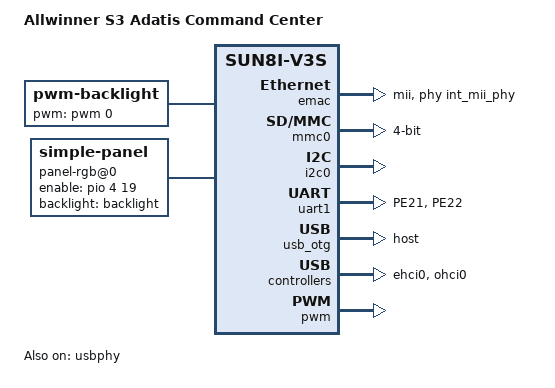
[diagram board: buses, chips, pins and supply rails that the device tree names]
/dts-v1/;

#include "sun8i-s3.dtsi"
#include "sunxi-common-regulators.dtsi"

/ {
    model = "Allwinner S3 Adatis Command Center";
    compatible = "licheepi,licheepi-zero", //"allwinner,sun8i-s3",
                "allwinner,sun8i-v3s";

    aliases {
        serial0 = &uart1;
    };

/*    mmc2_pwrseq: mmc2_pwrseq {
        compatible = "mmc-pwrseq-emmc";
        reset-gpios = <&pio 2 2 GPIO_ACTIVE_LOW>;   // PC2
    };*/

    chosen {
        stdout-path = "serial0:115200n8";
    };


    backlight: backlight {
        compatible = "pwm-backlight";
        pwms = <&pwm 0 50000 0>;

        brightness-levels = <0 10 20 30 40 50 60 70 80 90 100>;
        default-brightness-level = <10>;

        status = "okay"; 
        default-on;
    };
    /*    backlight: backlight {
        compatible = "pwm-backlight";
        power-supply
        pwms = <&pwm 0 50000 1>;
        brightness-levels = <0 2 4 8 16 32 64 128 255>;
        default-brightness-level = <3>;
    };*/

    panel-rgb@0 {   //#CONFIG_VIDEO_LCD_MODE="x:800,y:480,depth:18,pclk_khz:33000,le:87,ri:40,up:31,lo:13,hs:1,vs:1,sync:3,vmode:0"
        #address-cells = <1>;
        #size-cells = <0>;

        compatible = "simple-panel";
        backlight = <&backlight>;
        status = "okay";
        
        bits-per-pixel = <32>;
        bpp = <32>;        
        bus-width = <18>;
        
        pinctrl-names = "default";
        pinctrl-0 = <&lcd_rgb666_pins_a>, <&lcd_power_pin_som204>;

        enable-gpios = <&pio 4 19 0>; // PE19

        display-timings {
            timing@0 {
//                data-width = <18>;
                clock-frequency = <33000000>;
                hactive = <800>;
                vactive = <480>;
                hfront-porch = <40>;
                hback-porch = <87>;
                hsync-len = <1>;
                vfront-porch = <10>;
                vback-porch = <31>;
                vsync-len = <1>;
                hsync-active = <0>;
                vsync-active = <0>;
                de-active = <0>;
                pixelclk-active = <1>;
            };
        };
    };
};

&emac {
    phy-handle = <&int_mii_phy>;
    phy-mode = "mii";
    allwinner,use-internal-phy;
    status = "okay";
};


/*  // From V3S board
&mmc0 {
    pinctrl-0 = <&mmc0_pins_a>;
    pinctrl-names = "default";
    broken-cd;
    bus-width = <4>;
    vmmc-supply = <&reg_vcc3v3>;
    status = "okay";
};
*/
&mmc0 {
    pinctrl-0 = <&mmc0_pins_a>;
    pinctrl-names = "default";
    broken-cd;
//    cd-gpios = <&pio 5 6 GPIO_ACTIVE_LOW>; // PF6 
    bus-width = <4>;
    status = "okay";
};
/*
&mmc2 {
    non-removable;
    bus-width = <8>;
    status = "okay";
    vmmc-supply = <&reg_vcc3v3>;
    vqmmc-supply = <&reg_vcc3v3>;
    mmc-pwrseq = <&mmc2_pwrseq>;

    max-frequency = <20000000>;

    emmc: emmc@0 {
        reg = <0>;
        compatible = "mmc-card";
        broken-hpi;
    };    
};
*/
&spi0 {
    status = "disabled";
};


&i2c0 {
    status = "okay";

/*    axp209: pmic@34 {
        reg = <0x34>;
        interrupt-parent = <&nmi_intc>;
        interrupts = <0 IRQ_TYPE_LEVEL_LOW>;
    };*/
};

&pio {
    uart1_pins_e: uart1@0 {
        pins = "PE21", "PE22";
        function = "uart1";
        bias-pull-up;
    };

    lcd_power_pin_som204: lcd_power_pin@0 {
        pins = "PE19";
        function = "gpio_out";
    };
};
/*
#include "axp209.dtsi"

&reg_dcdc2 {
    regulator-always-on;
    regulator-min-microvolt = <1000000>;
    regulator-max-microvolt = <1100000>;
    regulator-name = "vdd-cpu";
};

&reg_dcdc3 {
    regulator-always-on;
    regulator-min-microvolt = <1000000>;
    regulator-max-microvolt = <3300000>;
    regulator-name = "vdd-int-dll";
};

&reg_ldo1 {
    regulator-always-on;
    regulator-min-microvolt = <1300000>;
    regulator-max-microvolt = <3300000>;
    regulator-name = "vdd-rtc";
};

&reg_ldo2 {
    regulator-always-on;
    regulator-min-microvolt = <3000000>;
    regulator-max-microvolt = <3000000>;
    regulator-name = "avcc";
};

&reg_ldo3 {
    regulator-min-microvolt = <1000000>;
    regulator-max-microvolt = <1200000>;
    regulator-name = "vddio-csi0";
    regulator-soft-start;
    regulator-ramp-delay = <1600>;
};

&reg_ldo4 {
    regulator-min-microvolt = <2800000>;
    regulator-max-microvolt = <2800000>;
    regulator-name = "vddio-csi1";
};

*/

&uart1 {
    status = "okay";
    pinctrl-names = "default";
    pinctrl-0 = <&uart1_pins_e>; 
};

&usb_otg {
    pinctrl-names = "default";  
    dr_mode = "host";
    status = "okay";
};

&usbphy {
    status = "okay";
};

&ehci0 {
    status = "okay";
};

&ohci0 {
    status = "okay";
};

&pwm {
    status = "okay";
    pinctrl-names = "default";
    pinctrl-0 = <&pwm0_pins>;    
};



